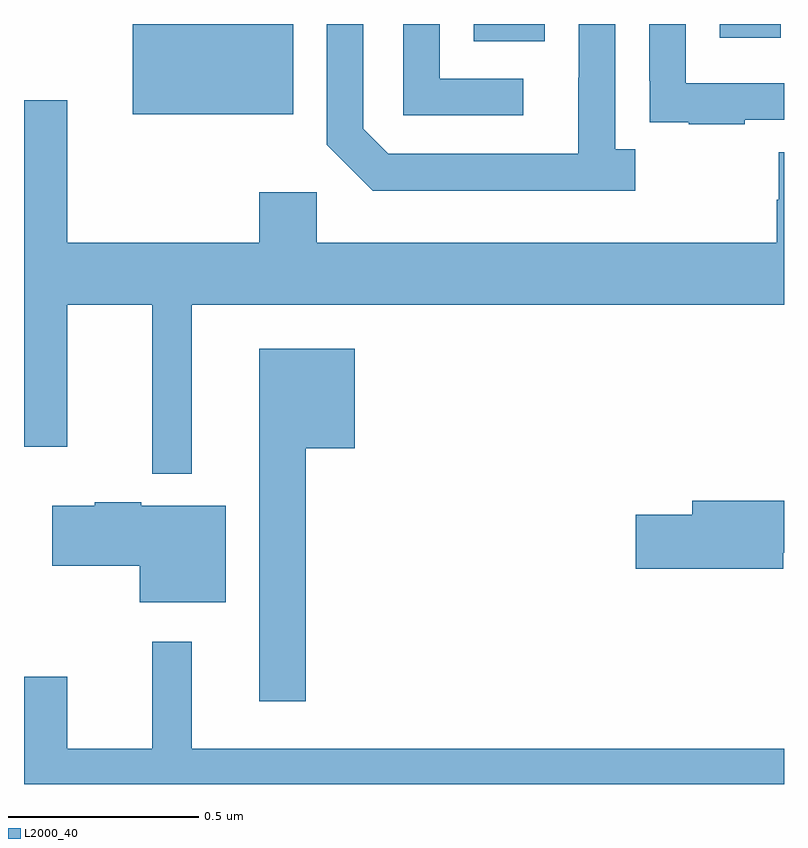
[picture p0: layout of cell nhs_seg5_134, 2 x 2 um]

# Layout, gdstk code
import gdstk
lib = gdstk.Library(unit=1e-6, precision=1e-09)
def R(c, l, rs):  # rectangles x0, y0, x1, y1
    for r in rs: c.add(gdstk.rectangle(r[:2], r[2:], *l))
def P(c, l, *ps):  # polygons
    for p in ps: c.add(gdstk.Polygon(p, *l))
L2000_40 = (2000, 40)

nhs_seg5_134 = lib.new_cell('nhs_seg5_134')
R(nhs_seg5_134, L2000_40, [(112.286,890.561,112.708,890.799), (113.183,890.753,113.371,890.799), (113.831,890.763,113.992,890.799)])
P(nhs_seg5_134, L2000_40, [(113.314,890.655),(113.094,890.655),(113.094,890.799),(112.998,890.799),(112.998,890.559),(113.314,890.559)],
  [(113.897,890.547),(114,890.547),(114,890.643),(113.742,890.643),(113.742,890.799),(113.646,890.799),(113.646,890.65),(113.647,890.65),(113.647,890.541),(113.749,890.541),(113.749,890.535),(113.897,890.535)],
  [(113.608,890.47),(113.556,890.47),(113.556,890.799),(113.46,890.799),(113.46,890.657),(113.459,890.657),(113.459,890.457),(112.959,890.457),(112.893,890.523),(112.893,890.799),(112.797,890.799),(112.797,890.481),(112.918,890.36),(113.608,890.36)],
  [(112.441,890.06),(114,890.06),(114,890.462),(113.986,890.462),(113.986,890.337),(113.981,890.337),(113.981,890.224),(112.77,890.224),(112.77,890.356),(112.619,890.356),(112.619,890.224),(112.114,890.224),(112.114,890.599),(112,890.599),(112,889.686),(112.114,889.686),(112.114,890.06),(112.337,890.06),(112.337,889.723),(112.338,889.723),(112.338,889.616),(112.441,889.616)],
  [(112.741,889.682),(112.87,889.682),(112.87,889.945),(112.619,889.945),(112.619,889.017),(112.741,889.017)],
  [(113.998,889.408),(114,889.408),(114,889.544),(113.759,889.544),(113.759,889.508),(113.61,889.508),(113.61,889.366),(113.998,889.366)],
  [(112.531,889.531),(112.308,889.531),(112.308,889.541),(112.186,889.541),(112.186,889.531),(112.074,889.531),(112.074,889.373),(112.304,889.373),(112.304,889.277),(112.531,889.277)],
  [(114,888.892),(112.441,888.892),(112.441,889.174),(112.337,889.174),(112.337,888.892),(112.114,888.892),(112.114,889.081),(112,889.081),(112,888.799),(114,888.799)])

lib.write_gds('nhs_seg5_134.gds')
